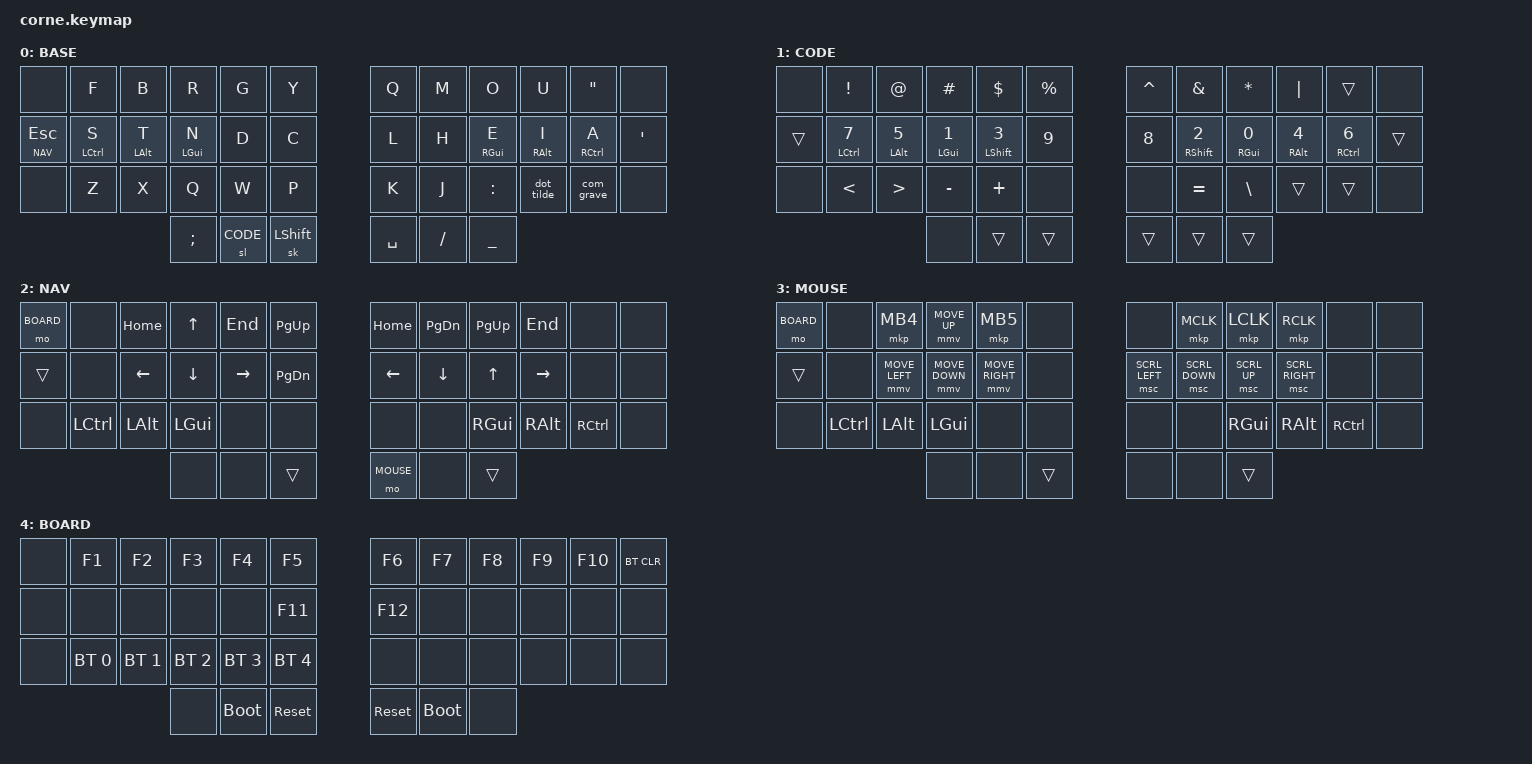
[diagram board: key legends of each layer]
/*
 * Copyright (c) 2020 The ZMK Contributors
 *
 * SPDX-License-Identifier: MIT
 */

#include <behaviors.dtsi>
#include <dt-bindings/zmk/keys.h>
#include <dt-bindings/zmk/bt.h>

#define ZMK_POINTING_DEFAULT_MOVE_VAL 600  // default: 600
#define ZMK_POINTING_DEFAULT_SCRL_VAL 10   // default: 10
#include <dt-bindings/zmk/pointing.h>

#define BASE 0
#define CODE 1
#define NAV 2
#define MOUSE 3
#define BOARD 4

#define ___ &trans
#define _ &kp
#define XXX &none

&lt {
    quick-tap-ms = <200>;
    tapping-term-ms = <300>;
    flavor = "hold-preferred";
};

&mt {
    quick-tap-ms = <200>;
    tapping-term-ms = <300>;
    hold-while-undecided;
};

&sk {
    quick-release;
};


/ {
	#define CUSTOM_SHIFT(NAME, NORMAL, SHIFTED) \
		NAME: NAME { \
			compatible = "zmk,behavior-mod-morph"; \
			#binding-cells = <0>; \
			bindings = <_ NORMAL>, <_ SHIFTED>; \
			mods = <(MOD_LSFT|MOD_RSFT)>; \
		}
	behaviors {
		CUSTOM_SHIFT(semi_under, SEMICOLON, UNDERSCORE);
		CUSTOM_SHIFT(quotes, DOUBLE_QUOTES, SINGLE_QUOTE);
		CUSTOM_SHIFT(com_grave, COMMA, GRAVE);
		CUSTOM_SHIFT(dot_tilde, DOT, TILDE);

		hrm: home_row_mod {
			compatible = "zmk,behavior-hold-tap";
			#binding-cells = <2>;
			flavor = "balanced";
			require-prior-idle-ms = <300>;
			tapping-term-ms = <200>;
			quick-tap-ms = <200>;
			bindings = <&kp>, <&kp>;
			hold-trigger-on-release;
		};
	};

	#define MACRO(NAME, BINDINGS) \
		NAME: NAME { \
			compatible = "zmk,behavior-macro"; \
			#binding-cells = <0>; \
			bindings = <BINDINGS>; \
		}
	macros {
		MACRO(parens, _ LPAR _ RPAR);
		MACRO(brackets, _ LEFT_BRACKET _ RIGHT_BRACKET);
		MACRO(braces, _ LEFT_BRACE _ RIGHT_BRACE);
		MACRO(fill_parens, _ LPAR _ RPAR _ LEFT);
		MACRO(fill_brackets, _ LEFT_BRACKET _ RIGHT_BRACKET _ LEFT);
		MACRO(fill_braces, _ LEFT_BRACE _ RIGHT_BRACE _ LEFT);
	};

	#define COMBO(NAME, BINDINGS, KEYPOS) \
		combo_##NAME { \
			timeout-ms = <50>; \
			require-prior-idle-ms = <200>; \
			bindings = <BINDINGS>; \
			key-positions = <KEYPOS>; \
		}
	#define FCOMBO(NAME, BINDINGS, KEYPOS) \
		combo_##NAME { \
			timeout-ms = <20>; \
			require-prior-idle-ms = <200>; \
			bindings = <BINDINGS>; \
			key-positions = <KEYPOS>; \
		}
	/*╭────────────────────────┬────────────────────────╮
	  │  0   1   2   3   4   5 │  6   7   8   9  10  11 │
	  │ 12  13  14  15  16  17 │ 18  19  20  21  22  23 │
	  │ 24  25  26  27  28  29 │ 30  31  32  33  34  35 │
	  ╰───────────╮ 36  37  38 │ 39  40  41 ╭───────────╯
		      ╰────────────┴────────────╯*/
	combos {
		compatible = "zmk,combos";

		COMBO(lparen, _ LPAR, 31 32);
		FCOMBO(rparen, _ RPAR, 32 33);
		COMBO(parens, &parens, 31 33);
		COMBO(fill_parens, &fill_parens, 31 32 33);
		COMBO(lbracket, _ LEFT_BRACKET, 19 20);
		FCOMBO(rbracket, _ RIGHT_BRACKET, 20 21);
		COMBO(brackets, &brackets, 19 21);
		COMBO(fill_brackets, &fill_brackets, 19 20 21);
		COMBO(lbrace, _ LEFT_BRACE, 7 8);
		FCOMBO(rbrace, _ RIGHT_BRACE, 8 9);
		COMBO(braces, &braces, 7 9);
		COMBO(fill_braces, &fill_braces, 7 8 9);

		COMBO(backspace, _ BACKSPACE, 2 3);
		COMBO(enter, _ ENTER, 14 15);
		COMBO(tab, _ TAB, 13 14);

		COMBO(cut, _ LG(X), 25 26);
		COMBO(copy, _ LG(C), 26 27);
		COMBO(paste, _ LG(V), 27 28);
		COMBO(select_all, _ LG(A), 13 2);
		COMBO(find, _ LG(F), 15 28);
	};

        keymap {
                compatible = "zmk,keymap";
                default_layer {
			display-name = "BASE";
                        bindings = <
//╭─────────────────┬─────────────────┬─────────────────┬─────────────────┬─────────────────┬────────────────╮ ╭─────────────────┬─────────────────┬─────────────────┬─────────────────┬─────────────────┬─────────────────╮
    XXX               _ F               _ B               _ R               _ G               _ Y                _ Q               _ M               _ O               _ U               _ DOUBLE_QUOTES   XXX
//├─────────────────┼─────────────────┼─────────────────┼─────────────────┼─────────────────┼────────────────┤ ├─────────────────┼─────────────────┼─────────────────┼─────────────────┼─────────────────┼─────────────────┤
    &lt NAV ESC       &hrm LCTRL S      &hrm LALT T       &hrm LGUI N       _ D               _ C                _ L               _ H               &hrm RGUI E       &hrm RALT I       &hrm RCTRL A      _ SINGLE_QUOTE
//├─────────────────┼─────────────────┼─────────────────┼─────────────────┼─────────────────┼────────────────┤ ├─────────────────┼─────────────────┼─────────────────┼─────────────────┼─────────────────┼─────────────────┤
    XXX               _ Z               _ X               _ Q               _ W               _ P                _ K               _ J               _ COLON           &dot_tilde        &com_grave        XXX
//├─────────────────┼─────────────────┼─────────────────┼─────────────────┼─────────────────┼────────────────┤ ├─────────────────┼─────────────────┼─────────────────┼─────────────────┼─────────────────┼─────────────────┤
                                                          _ SEMICOLON       &sl CODE          &sk LSHFT          _ SPC             _ SLASH           _ UNDERSCORE
//╰─────────────────┴─────────────────┴─────────────────┴─────────────────┴─────────────────┴────────────────╯ ╰─────────────────┴─────────────────┴─────────────────┴─────────────────┴─────────────────┴─────────────────╯
                        >;
                };

                code_layer {
			display-name = "CODE";
                        bindings = <
//╭─────────────────┬─────────────────┬─────────────────┬─────────────────┬─────────────────┬────────────────╮ ╭─────────────────┬─────────────────┬─────────────────┬─────────────────┬─────────────────┬─────────────────╮
    XXX               _ EXCLAMATION     _ AT              _ HASH            _ DOLLAR          _ PERCENT          _ CARET           _ AMPERSAND       _ ASTERISK        _ PIPE            ___               XXX
//├─────────────────┼─────────────────┼─────────────────┼─────────────────┼─────────────────┼────────────────┤ ├─────────────────┼─────────────────┼─────────────────┼─────────────────┼─────────────────┼─────────────────┤
    ___               &hrm LCTRL N7     &hrm LALT N5      &hrm LGUI N1      &hrm LSHFT N3     _ N9               _ N8              &hrm RSHFT N2     &hrm RGUI N0      &hrm RALT N4      &hrm RCTRL N6     ___
//├─────────────────┼─────────────────┼─────────────────┼─────────────────┼─────────────────┼────────────────┤ ├─────────────────┼─────────────────┼─────────────────┼─────────────────┼─────────────────┼─────────────────┤
    XXX               _ LT              _ GT              _ MINUS           _ PLUS            XXX                XXX               _ EQUAL           _ BACKSLASH       ___               ___               XXX
//├─────────────────┼─────────────────┼─────────────────┼─────────────────┼─────────────────┼────────────────┤ ├─────────────────┼─────────────────┼─────────────────┼─────────────────┼─────────────────┼─────────────────┤
                                                          XXX               ___               ___                ___               ___               ___
//╰─────────────────┴─────────────────┴─────────────────┴─────────────────┴─────────────────┴────────────────╯ ╰─────────────────┴─────────────────┴─────────────────┴─────────────────┴─────────────────┴─────────────────╯
                        >;
                };

                nav_layer {
			display-name = "NAV";
                        bindings = <
//╭─────────────────┬─────────────────┬─────────────────┬─────────────────┬─────────────────┬────────────────╮ ╭─────────────────┬─────────────────┬─────────────────┬─────────────────┬─────────────────┬─────────────────╮
    &mo BOARD         XXX               _ HOME            _ UP              _ END             _ PAGE_UP          _ HOME            _ PAGE_DOWN       _ PAGE_UP         _ END             XXX               XXX
//├─────────────────┼─────────────────┼─────────────────┼─────────────────┼─────────────────┼────────────────┤ ├─────────────────┼─────────────────┼─────────────────┼─────────────────┼─────────────────┼─────────────────┤
    ___               XXX               _ LEFT            _ DOWN            _ RIGHT           _ PAGE_DOWN        _ LEFT            _ DOWN            _ UP              _ RIGHT           XXX               XXX
//├─────────────────┼─────────────────┼─────────────────┼─────────────────┼─────────────────┼────────────────┤ ├─────────────────┼─────────────────┼─────────────────┼─────────────────┼─────────────────┼─────────────────┤
    XXX               _ LCTRL           _ LALT            _ LGUI            XXX               XXX                XXX               XXX               _ RGUI            _ RALT            _ RCTRL           XXX
//├─────────────────┼─────────────────┼─────────────────┼─────────────────┼─────────────────┼────────────────┤ ├─────────────────┼─────────────────┼─────────────────┼─────────────────┼─────────────────┼─────────────────┤
                                                          XXX               XXX               ___                &mo MOUSE         XXX               ___
//╰─────────────────┴─────────────────┴─────────────────┴─────────────────┴─────────────────┴────────────────╯ ╰─────────────────┴─────────────────┴─────────────────┴─────────────────┴─────────────────┴─────────────────╯
                        >;
                };

                mouse_layer {
			display-name = "MOUSE";
                        bindings = <
//╭─────────────────┬─────────────────┬─────────────────┬─────────────────┬─────────────────┬────────────────╮ ╭─────────────────┬─────────────────┬─────────────────┬─────────────────┬─────────────────┬─────────────────╮
    &mo BOARD         XXX               &mkp MB4          &mmv MOVE_UP      &mkp MB5          XXX                XXX               &mkp MCLK         &mkp LCLK         &mkp RCLK         XXX               XXX
//├─────────────────┼─────────────────┼─────────────────┼─────────────────┼─────────────────┼────────────────┤ ├─────────────────┼─────────────────┼─────────────────┼─────────────────┼─────────────────┼─────────────────┤
    ___               XXX               &mmv MOVE_LEFT    &mmv MOVE_DOWN    &mmv MOVE_RIGHT   XXX                &msc SCRL_LEFT    &msc SCRL_DOWN    &msc SCRL_UP      &msc SCRL_RIGHT   XXX               XXX
//├─────────────────┼─────────────────┼─────────────────┼─────────────────┼─────────────────┼────────────────┤ ├─────────────────┼─────────────────┼─────────────────┼─────────────────┼─────────────────┼─────────────────┤
    XXX               _ LCTRL           _ LALT            _ LGUI            XXX               XXX                XXX               XXX               _ RGUI            _ RALT            _ RCTRL           XXX
//├─────────────────┼─────────────────┼─────────────────┼─────────────────┼─────────────────┼────────────────┤ ├─────────────────┼─────────────────┼─────────────────┼─────────────────┼─────────────────┼─────────────────┤
                                                          XXX               XXX               ___                XXX               XXX               ___
//╰─────────────────┴─────────────────┴─────────────────┴─────────────────┴─────────────────┴────────────────╯ ╰─────────────────┴─────────────────┴─────────────────┴─────────────────┴─────────────────┴─────────────────╯
                        >;
                };

                board_layer {
			display-name = "BOARD";
                        bindings = <
//╭─────────────────┬─────────────────┬─────────────────┬─────────────────┬─────────────────┬────────────────╮ ╭─────────────────┬─────────────────┬─────────────────┬─────────────────┬─────────────────┬─────────────────╮
    XXX               _ F1              _ F2              _ F3              _ F4              _ F5               _ F6              _ F7              _ F8              _ F9              _ F10             &bt BT_CLR
//├─────────────────┼─────────────────┼─────────────────┼─────────────────┼─────────────────┼────────────────┤ ├─────────────────┼─────────────────┼─────────────────┼─────────────────┼─────────────────┼─────────────────┤
    XXX               XXX               XXX               XXX               XXX               _ F11              _ F12             XXX               XXX               XXX               XXX               XXX
//├─────────────────┼─────────────────┼─────────────────┼─────────────────┼─────────────────┼────────────────┤ ├─────────────────┼─────────────────┼─────────────────┼─────────────────┼─────────────────┼─────────────────┤
    XXX               &bt BT_SEL 0      &bt BT_SEL 1      &bt BT_SEL 2      &bt BT_SEL 3      &bt BT_SEL 4       XXX               XXX               XXX               XXX               XXX               XXX
//├─────────────────┼─────────────────┼─────────────────┼─────────────────┼─────────────────┼────────────────┤ ├─────────────────┼─────────────────┼─────────────────┼─────────────────┼─────────────────┼─────────────────┤
                                                          XXX               &bootloader       &sys_reset         &sys_reset        &bootloader       XXX
//╰─────────────────┴─────────────────┴─────────────────┴─────────────────┴─────────────────┴────────────────╯ ╰─────────────────┴─────────────────┴─────────────────┴─────────────────┴─────────────────┴─────────────────╯
                        >;
                };

        };
};
